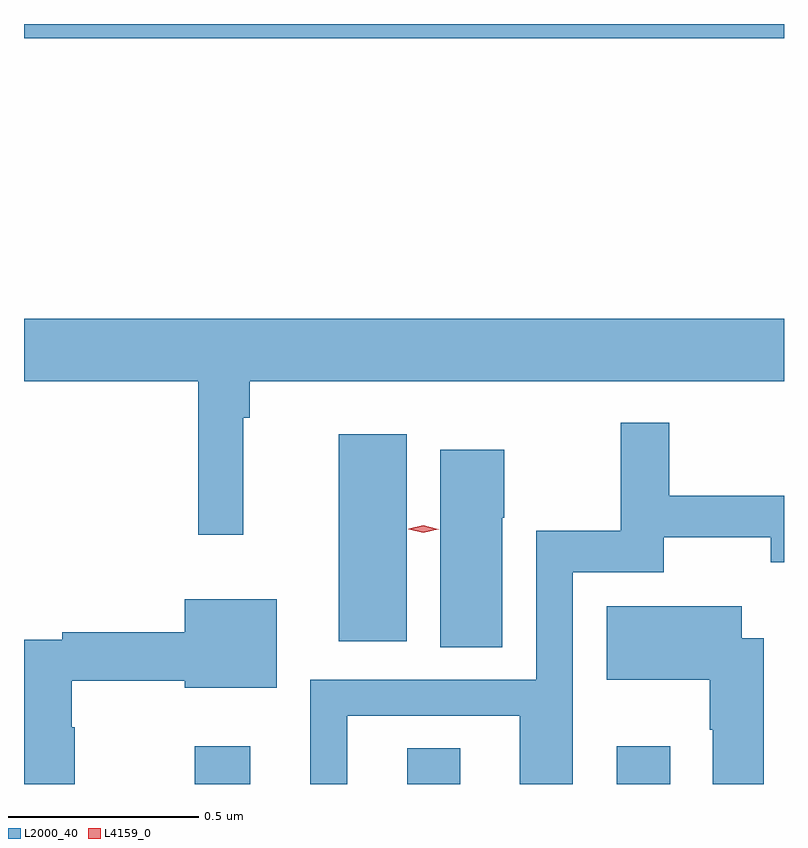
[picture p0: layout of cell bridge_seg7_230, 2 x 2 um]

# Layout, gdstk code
import gdstk
lib = gdstk.Library(unit=1e-6, precision=1e-09)
def R(c, l, rs):  # rectangles x0, y0, x1, y1
    for r in rs: c.add(gdstk.rectangle(r[:2], r[2:], *l))
def P(c, l, *ps):  # polygons
    for p in ps: c.add(gdstk.Polygon(p, *l))
L2000_40 = (2000, 40)
L4159_0 = (4159, 0)

bridge_seg7_230 = lib.new_cell('bridge_seg7_230')
R(bridge_seg7_230, L2000_40, [(350.086,998.224,350.233,998.323), (350.645,998.224,350.785,998.318), (351.197,998.224,351.337,998.323), (350.465,998.6,350.644,999.145), (349.637,1000.186,351.637,1000.224)])
P(bridge_seg7_230, L2000_40, [(350.214,999.188),(350.231,999.188),(350.231,999.284),(351.637,999.284),(351.637,999.448),(349.637,999.448),(349.637,999.284),(350.095,999.284),(350.095,998.88),(350.214,998.88)],
  [(350.488,998.403),(350.942,998.403),(350.942,998.224),(351.081,998.224),(351.081,998.781),(351.32,998.781),(351.32,998.873),(351.602,998.873),(351.602,998.807),(351.637,998.807),(351.637,998.983),(351.335,998.983),(351.335,999.175),(351.207,999.175),(351.207,998.89),(350.985,998.89),(350.985,998.499),(350.39,998.499),(350.39,998.224),(350.488,998.224)],
  [(350.896,998.925),(350.901,998.925),(350.901,999.103),(350.732,999.103),(350.732,998.584),(350.896,998.584)],
  [(349.77,998.373),(349.762,998.373),(349.762,998.496),(350.06,998.496),(350.06,998.477),(350.302,998.477),(350.302,998.71),(350.06,998.71),(350.06,998.624),(349.738,998.624),(349.738,998.604),(349.637,998.604),(349.637,998.224),(349.77,998.224)],
  [(351.584,998.608),(351.526,998.608),(351.526,998.692),(351.17,998.692),(351.17,998.498),(351.442,998.498),(351.442,998.367),(351.449,998.367),(351.449,998.224),(351.584,998.224)])
P(bridge_seg7_230, L4159_0, [(350.688,998.885),(350.649,998.895),(350.648,998.895),(350.649,998.896),(350.688,998.905),(350.727,998.895),(350.728,998.894),(350.727,998.894)])

lib.write_gds('bridge_seg7_230.gds')
